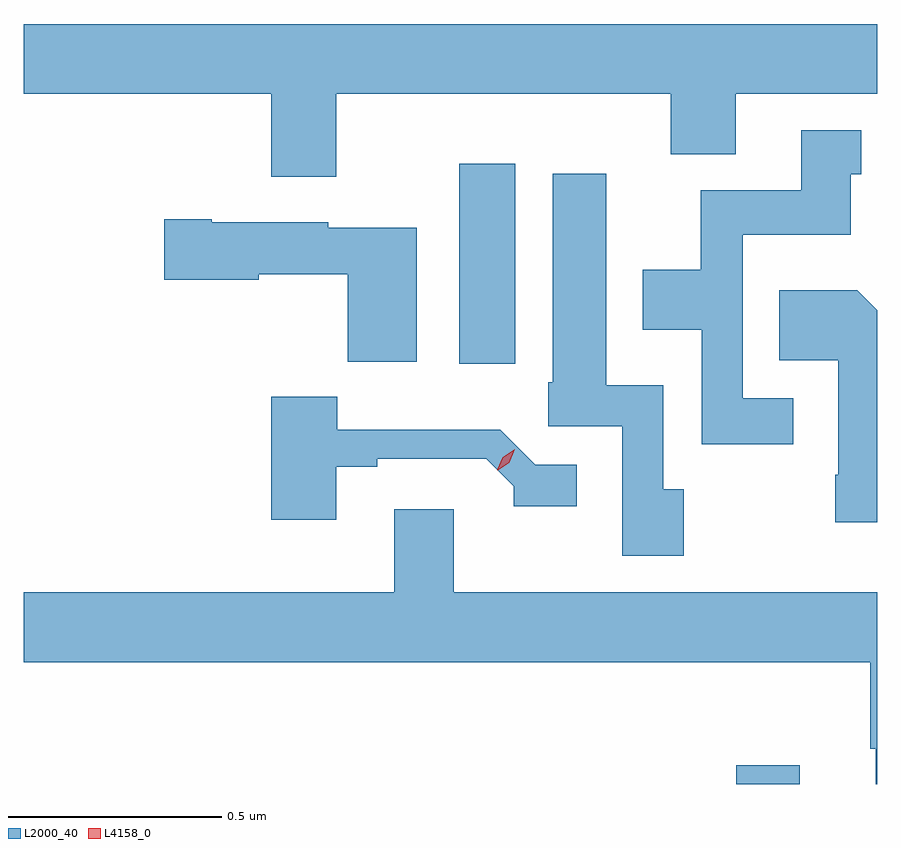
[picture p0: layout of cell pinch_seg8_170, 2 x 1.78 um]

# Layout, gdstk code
import gdstk
lib = gdstk.Library(unit=1e-6, precision=1e-09)
def R(c, l, rs):  # rectangles x0, y0, x1, y1
    for r in rs: c.add(gdstk.rectangle(r[:2], r[2:], *l))
def P(c, l, *ps):  # polygons
    for p in ps: c.add(gdstk.Polygon(p, *l))
L2000_40 = (2000, 40)
L4158_0 = (4158, 0)

pinch_seg8_170 = lib.new_cell('pinch_seg8_170')
R(pinch_seg8_170, L2000_40, [(640.647,1129.535,640.795,1129.579), (639.998,1130.52,640.129,1130.989)])
P(pinch_seg8_170, L2000_40, [(639.709,1131.152),(640.493,1131.152),(640.493,1131.011),(640.645,1131.011),(640.645,1131.152),(640.977,1131.152),(640.977,1131.316),(638.977,1131.316),(638.977,1131.152),(639.557,1131.152),(639.557,1130.958),(639.709,1130.958)],
  [(640.78,1130.439),(640.662,1130.439),(640.662,1130.822),(640.915,1130.822),(640.915,1130.964),(640.939,1130.964),(640.939,1131.067),(640.799,1131.067),(640.799,1130.926),(640.564,1130.926),(640.564,1130.74),(640.427,1130.74),(640.427,1130.6),(640.566,1130.6),(640.566,1130.331),(640.78,1130.331)],
  [(640.524,1130.226),(640.476,1130.226),(640.476,1130.47),(640.342,1130.47),(640.342,1130.965),(640.217,1130.965),(640.217,1130.476),(640.206,1130.476),(640.206,1130.373),(640.38,1130.373),(640.38,1130.07),(640.524,1130.07)],
  [(639.898,1130.839),(639.69,1130.839),(639.69,1130.851),(639.418,1130.851),(639.418,1130.859),(639.306,1130.859),(639.306,1130.717),(639.528,1130.717),(639.528,1130.729),(639.736,1130.729),(639.736,1130.525),(639.898,1130.525)],
  [(640.977,1130.645),(640.93,1130.692),(640.747,1130.692),(640.747,1130.528),(640.886,1130.528),(640.886,1130.26),(640.879,1130.26),(640.879,1130.148),(640.977,1130.148)],
  [(639.709,1130.279),(639.805,1130.279),(639.805,1130.297),(640.061,1130.297),(640.125,1130.233),(640.125,1130.186),(640.273,1130.186),(640.273,1130.283),(640.176,1130.283),(640.094,1130.365),(639.712,1130.365),(639.712,1130.443),(639.557,1130.443),(639.557,1130.154),(639.709,1130.154)],
  [(640.977,1129.984),(639.985,1129.984),(639.985,1130.179),(639.845,1130.179),(639.845,1129.984),(638.977,1129.984),(638.977,1129.82),(640.961,1129.82),(640.961,1129.618),(640.973,1129.618),(640.973,1129.535),(640.977,1129.535)])
P(pinch_seg8_170, L4158_0, [(640.087,1130.27),(640.087,1130.271),(640.1,1130.301),(640.127,1130.319),(640.128,1130.319),(640.128,1130.319),(640.115,1130.288),(640.088,1130.27)])

lib.write_gds('pinch_seg8_170.gds')
